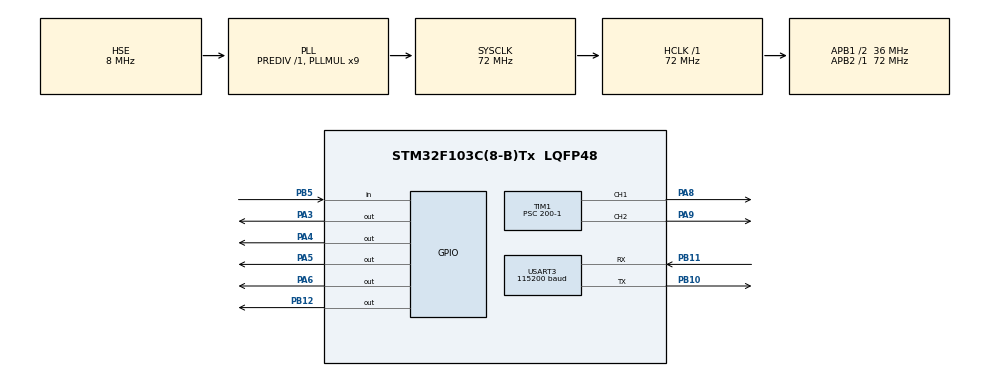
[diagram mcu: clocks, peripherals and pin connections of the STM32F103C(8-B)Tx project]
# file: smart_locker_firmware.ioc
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Mcu.Family=STM32F1
Mcu.Name=STM32F103C(8-B)Tx
Mcu.Package=LQFP48
NVIC.PriorityGroup=NVIC_PRIORITYGROUP_4
NVIC.USART3_IRQn=true\:0\:0\:false\:true\:true\:1\:true\:true
PA13.Mode=Trace_Asynchronous_SW
PA13.Signal=SYS_JTMS-SWDIO
PA14.Mode=Trace_Asynchronous_SW
PA14.Signal=SYS_JTCK-SWCLK
PA3.Signal=GPIO_Output
PA4.Signal=GPIO_Output
PA5.Signal=GPIO_Output
PA6.Signal=GPIO_Output
PA8.Signal=S_TIM1_CH1
PA9.Signal=S_TIM1_CH2
PB10.Mode=Asynchronous
PB10.Signal=USART3_TX
PB11.Mode=Asynchronous
PB11.Signal=USART3_RX
PB12.Signal=GPIO_Output
PB3.Mode=Trace_Asynchronous_SW
PB3.Signal=SYS_JTDO-TRACESWO
PB5.Signal=GPIO_Input
PD0-OSC_IN.Mode=HSE-External-Oscillator
PD0-OSC_IN.Signal=RCC_OSC_IN
PD1-OSC_OUT.Mode=HSE-External-Oscillator
PD1-OSC_OUT.Signal=RCC_OSC_OUT
ProjectManager.HeapSize=0x200
ProjectManager.StackSize=0x400
ProjectManager.TargetToolchain=MDK-ARM V5.32
RCC.AHBFreq_Value=72000000
RCC.APB1CLKDivider=RCC_HCLK_DIV2
RCC.APB1Freq_Value=36000000
RCC.APB1TimFreq_Value=72000000
RCC.APB2Freq_Value=72000000
RCC.APB2TimFreq_Value=72000000
RCC.HCLKFreq_Value=72000000
RCC.PLLMUL=RCC_PLL_MUL9
RCC.PLLSourceVirtual=RCC_PLLSOURCE_HSE
RCC.SYSCLKFreq_VALUE=72000000
RCC.SYSCLKSource=RCC_SYSCLKSOURCE_PLLCLK
RCC.USBFreq_Value=72000000
SH.S_TIM1_CH1.0=TIM1_CH1,PWM Generation1 CH1
SH.S_TIM1_CH2.0=TIM1_CH2,PWM Generation2 CH2
TIM1.Channel-PWM\ Generation1\ CH1=TIM_CHANNEL_1
TIM1.Channel-PWM\ Generation2\ CH2=TIM_CHANNEL_2
TIM1.OCMode_PWM-PWM\ Generation2\ CH2=TIM_OCMODE_PWM2
TIM1.Period=7200-1
TIM1.Prescaler=200-1
TIM1.Pulse-PWM\ Generation1\ CH1=830-1
TIM1.Pulse-PWM\ Generation2\ CH2=3600-1
USART3.BaudRate=115200
USART3.VirtualMode=VM_ASYNC
VP_TIM1_VS_ClockSourceINT.Mode=Internal
board=custom

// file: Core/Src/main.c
/* USER CODE BEGIN Header */
/**
  ******************************************************************************
  * @file           : main.c
  * @brief          : Main program body
  ******************************************************************************
  * @attention
  *
  * <h2><center>&copy; Copyright (c) 2021 STMicroelectronics.
  * All rights reserved.</center></h2>
  *
  * This software component is licensed by ST under BSD 3-Clause license,
  * the "License"; You may not use this file except in compliance with the
  * License. You may obtain a copy of the License at:
  *                        opensource.org/licenses/BSD-3-Clause
  *
  ******************************************************************************
  */
/* USER CODE END Header */
#include "main.h"
#include "tim.h"
#include "usart.h"
#include "gpio.h"

/* USER CODE BEGIN PV */
	uint8_t rx_data;
	uint8_t c[4] = {0, };

/* USER CODE END PV */

void SystemClock_Config(void);
static void MX_NVIC_Init(void);

int main(void)
{

  /* MCU Configuration--------------------------------------------------------*/

  /* Reset of all peripherals, Initializes the Flash interface and the Systick. */
  HAL_Init();

  /* Configure the system clock */
  SystemClock_Config();

  /* Initialize all configured peripherals */
  MX_GPIO_Init();
  MX_TIM1_Init();
  MX_USART3_UART_Init();

  /* Initialize interrupts */
  MX_NVIC_Init();
  /* USER CODE BEGIN 2 */
	HAL_UART_Receive_IT(&huart3, &rx_data, 1);	//UART
	HAL_TIM_PWM_Start(&htim1, TIM_CHANNEL_1);	//SERVO
	HAL_TIM_PWM_Start(&htim1, TIM_CHANNEL_2);

	// TIM1->CCR1=830;		// 250 ~ 830

  /* USER CODE END 2 */

  /* Infinite loop */
  /* USER CODE BEGIN WHILE */
  while (1)
  {
		if(c[0]==0x61)	//0x55
		{
			if(c[1]==0x62)	//0x66
			{
				if(c[2]==0x63)	//SERVO, 0xF5
				{
					if(c[3]==0x65)	// 0x00
					{
						TIM1->CCR1=250;	//ON
					}
					else if(c[3]==0x66)	// 0x01
					{
						TIM1->CCR1=830;	//OFF
						//IR
						GPIO_PinState pin_state = HAL_GPIO_ReadPin(GPIOB, GPIO_PIN_5);
						if(pin_state == GPIO_PIN_RESET)
						{
							HAL_GPIO_WritePin(GPIOA, GPIO_PIN_3, GPIO_PIN_SET);
							HAL_GPIO_WritePin(GPIOA, GPIO_PIN_4, GPIO_PIN_RESET);
							HAL_GPIO_WritePin(GPIOA, GPIO_PIN_5, GPIO_PIN_SET);
							HAL_GPIO_WritePin(GPIOA, GPIO_PIN_6, GPIO_PIN_RESET);
							HAL_GPIO_WritePin(GPIOB, GPIO_PIN_12, GPIO_PIN_RESET);
						}
						else
						{
							HAL_GPIO_WritePin(GPIOA, GPIO_PIN_3, GPIO_PIN_RESET);
							HAL_GPIO_WritePin(GPIOA, GPIO_PIN_4, GPIO_PIN_RESET);
							HAL_GPIO_WritePin(GPIOA, GPIO_PIN_5, GPIO_PIN_RESET);
							HAL_GPIO_WritePin(GPIOA, GPIO_PIN_6, GPIO_PIN_RESET);
							HAL_GPIO_WritePin(GPIOB, GPIO_PIN_12, GPIO_PIN_SET);
						}
					}
				}
				else if(c[2]==0x64)//FAN SPEED
				{
					if(c[3]==0x65)
					{
						TIM1->CCR2=3600;//SUNNY
					}
					else if(c[3]==0x66)
					{
						TIM1->CCR2=2400;//CLOUDY
					}
					else if(c[3]==0x67)
					{
						TIM1->CCR2=1200;//RAINY
					}
					else if(c[3]==0x68)
					{
						TIM1->CCR2=0;//SNOWY
					}
				}
			}
		}
    /* USER CODE END WHILE */

  }
}

void SystemClock_Config(void)
{
  RCC_OscInitTypeDef RCC_OscInitStruct = {0};
  RCC_ClkInitTypeDef RCC_ClkInitStruct = {0};

  /** Initializes the RCC Oscillators according to the specified parameters
  * in the RCC_OscInitTypeDef structure.
  */
  RCC_OscInitStruct.OscillatorType = RCC_OSCILLATORTYPE_HSE;
  RCC_OscInitStruct.HSEState = RCC_HSE_ON;
  RCC_OscInitStruct.HSEPredivValue = RCC_HSE_PREDIV_DIV1;
  RCC_OscInitStruct.HSIState = RCC_HSI_ON;
  RCC_OscInitStruct.PLL.PLLState = RCC_PLL_ON;
  RCC_OscInitStruct.PLL.PLLSource = RCC_PLLSOURCE_HSE;
  RCC_OscInitStruct.PLL.PLLMUL = RCC_PLL_MUL9;
  if (HAL_RCC_OscConfig(&RCC_OscInitStruct) != HAL_OK)
  {
    Error_Handler();
  }
  /** Initializes the CPU, AHB and APB buses clocks
  */
  RCC_ClkInitStruct.ClockType = RCC_CLOCKTYPE_HCLK|RCC_CLOCKTYPE_SYSCLK
                              |RCC_CLOCKTYPE_PCLK1|RCC_CLOCKTYPE_PCLK2;
  RCC_ClkInitStruct.SYSCLKSource = RCC_SYSCLKSOURCE_PLLCLK;
  RCC_ClkInitStruct.AHBCLKDivider = RCC_SYSCLK_DIV1;
  RCC_ClkInitStruct.APB1CLKDivider = RCC_HCLK_DIV2;
  RCC_ClkInitStruct.APB2CLKDivider = RCC_HCLK_DIV1;

  if (HAL_RCC_ClockConfig(&RCC_ClkInitStruct, FLASH_LATENCY_2) != HAL_OK)
  {
    Error_Handler();
  }
}

/**
  * @brief NVIC Configuration.
  * @retval None
  */
static void MX_NVIC_Init(void)
{
  /* USART3_IRQn interrupt configuration */
  HAL_NVIC_SetPriority(USART3_IRQn, 0, 0);
  HAL_NVIC_EnableIRQ(USART3_IRQn);
}

/* USER CODE BEGIN 4 */
void HAL_UART_RxCpltCallback(UART_HandleTypeDef *huart)
{
  if(huart->Instance==USART3)
	{
		c[0]=c[1];
		c[1]=c[2];
		c[2]=c[3];
		c[3]=rx_data;
		HAL_UART_Receive_IT(&huart3,&rx_data,1);
	}
}

/* USER CODE END 4 */

void Error_Handler(void)
{
  __disable_irq();
  while (1)
  {
  }
}

/************************ (C) COPYRIGHT STMicroelectronics *****END OF FILE****/
